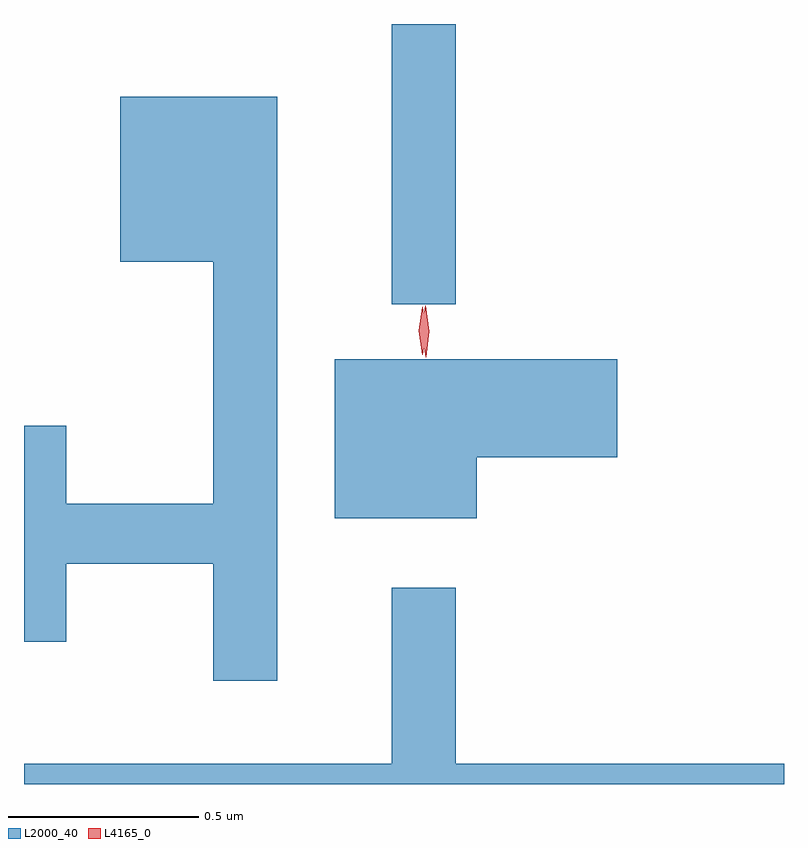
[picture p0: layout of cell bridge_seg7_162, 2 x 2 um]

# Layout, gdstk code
import gdstk
lib = gdstk.Library(unit=1e-6, precision=1e-09)
def R(c, l, rs):  # rectangles x0, y0, x1, y1
    for r in rs: c.add(gdstk.rectangle(r[:2], r[2:], *l))
def P(c, l, *ps):  # polygons
    for p in ps: c.add(gdstk.Polygon(p, *l))
L2000_40 = (2000, 40)
L4165_0 = (4165, 0)

bridge_seg7_162 = lib.new_cell('bridge_seg7_162')
R(bridge_seg7_162, L2000_40, [(1599.071,1673.613,1599.239,1674.351)])
P(bridge_seg7_162, L2000_40, [(1598.769,1674.159),(1598.356,1674.159),(1598.356,1673.726),(1598.601,1673.726),(1598.601,1673.089),(1598.214,1673.089),(1598.214,1673.294),(1598.103,1673.294),(1598.103,1672.726),(1598.214,1672.726),(1598.214,1672.931),(1598.601,1672.931),(1598.601,1672.623),(1598.769,1672.623)],
  [(1599.294,1673.211),(1599.664,1673.211),(1599.664,1673.469),(1598.921,1673.469),(1598.921,1673.051),(1599.294,1673.051)],
  [(1600.103,1672.404),(1599.239,1672.404),(1599.239,1672.868),(1599.071,1672.868),(1599.071,1672.404),(1598.103,1672.404),(1598.103,1672.351),(1600.103,1672.351)])
P(bridge_seg7_162, L4165_0, [(1599.16,1673.474),(1599.16,1673.474),(1599.15,1673.542),(1599.159,1673.61),(1599.159,1673.61),(1599.16,1673.61),(1599.17,1673.542),(1599.161,1673.474)],
  [(1599.152,1673.48),(1599.151,1673.481),(1599.142,1673.544),(1599.151,1673.606),(1599.152,1673.607),(1599.152,1673.606),(1599.162,1673.544),(1599.152,1673.481)])

lib.write_gds('bridge_seg7_162.gds')
